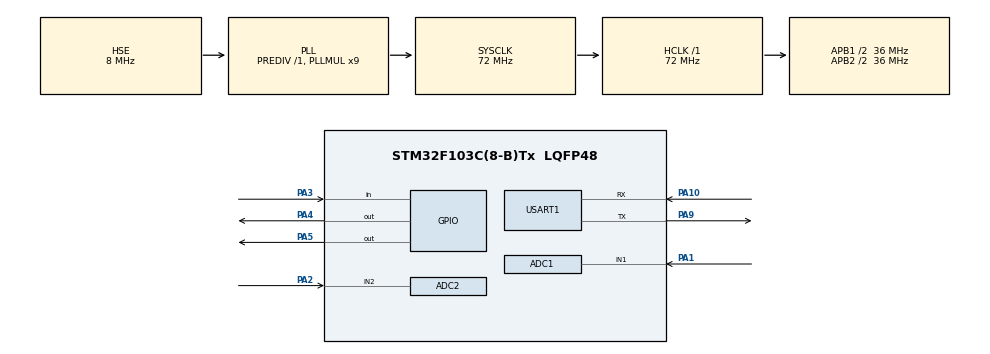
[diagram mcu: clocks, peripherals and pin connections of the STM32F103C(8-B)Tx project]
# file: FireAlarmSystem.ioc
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ADC1.Channel-1\#ChannelRegularConversion=ADC_CHANNEL_1
ADC1.EnableAnalogWatchDog=false
ADC1.NbrOfConversionFlag=1
ADC1.Rank-1\#ChannelRegularConversion=1
ADC1.SamplingTime-1\#ChannelRegularConversion=ADC_SAMPLETIME_1CYCLE_5
ADC1.master=1
ADC2.Channel-0\#ChannelRegularConversion=ADC_CHANNEL_2
ADC2.EnableAnalogWatchDog=false
ADC2.NbrOfConversionFlag=1
ADC2.Rank-0\#ChannelRegularConversion=1
ADC2.SamplingTime-0\#ChannelRegularConversion=ADC_SAMPLETIME_1CYCLE_5
FREERTOS.Queues01=temperatureQueue,3,uint16_t,0,Dynamic,NULL,NULL;airQualityQueue,3,uint16_t,0,Dynamic,NULL,NULL
FREERTOS.Tasks01=myTask01,24,128,StartTask01,Default,NULL,Dynamic,NULL,NULL;myTask02,24,128,StartTask02,Default,NULL,Dynamic,NULL,NULL;myTask03,24,128,StartTask03,Default,NULL,Dynamic,NULL,NULL
Mcu.Family=STM32F1
Mcu.Name=STM32F103C(8-B)Tx
Mcu.Package=LQFP48
NVIC.ADC1_2_IRQn=true\:5\:0\:false\:false\:true\:true\:true\:true\:true
NVIC.PriorityGroup=NVIC_PRIORITYGROUP_4
PA1.Signal=ADCx_IN1
PA10.Mode=Asynchronous
PA10.Signal=USART1_RX
PA2.Signal=ADCx_IN2
PA3.Signal=GPIO_Input
PA4.Signal=GPIO_Output
PA5.Signal=GPIO_Output
PA9.Mode=Asynchronous
PA9.Signal=USART1_TX
PD0-OSC_IN.Mode=HSE-External-Oscillator
PD0-OSC_IN.Signal=RCC_OSC_IN
PD1-OSC_OUT.Mode=HSE-External-Oscillator
PD1-OSC_OUT.Signal=RCC_OSC_OUT
ProjectManager.HeapSize=0x200
ProjectManager.StackSize=0x400
ProjectManager.TargetToolchain=STM32CubeIDE
RCC.ADCPresc=RCC_ADCPCLK2_DIV4
RCC.AHBFreq_Value=72000000
RCC.APB1CLKDivider=RCC_HCLK_DIV2
RCC.APB1Freq_Value=36000000
RCC.APB1TimFreq_Value=72000000
RCC.APB2CLKDivider=RCC_HCLK_DIV2
RCC.APB2Freq_Value=36000000
RCC.APB2TimFreq_Value=72000000
RCC.HCLKFreq_Value=72000000
RCC.PLLMUL=RCC_PLL_MUL9
RCC.PLLSourceVirtual=RCC_PLLSOURCE_HSE
RCC.SYSCLKFreq_VALUE=72000000
RCC.SYSCLKSource=RCC_SYSCLKSOURCE_PLLCLK
RCC.USBFreq_Value=72000000
SH.ADCx_IN1.0=ADC1_IN1,IN1
SH.ADCx_IN2.0=ADC2_IN2,IN2
USART1.VirtualMode=VM_ASYNC
VP_FREERTOS_VS_CMSIS_V2.Mode=CMSIS_V2
VP_SYS_VS_ND.Mode=No_Debug
board=custom

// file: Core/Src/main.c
/* USER CODE BEGIN Header */
/**
  ******************************************************************************
  * @file           : main.c
  * @brief          : Main program body
  ******************************************************************************
  * @attention
  *
  * Copyright (c) 2025 STMicroelectronics.
  * All rights reserved.
  *
  * This software is licensed under terms that can be found in the LICENSE file
  * in the root directory of this software component.
  * If no LICENSE file comes with this software, it is provided AS-IS.
  *
  ******************************************************************************
  */
/* USER CODE END Header */
#include "main.h"
#include "cmsis_os.h"

/* USER CODE BEGIN Includes */
#include <string.h>
#include <stdio.h>
/* USER CODE END Includes */

ADC_HandleTypeDef hadc1;
ADC_HandleTypeDef hadc2;

UART_HandleTypeDef huart1;

/* Definitions for myTask01 */
osThreadId_t myTask01Handle;
const osThreadAttr_t myTask01_attributes = {
  .name = "myTask01",
  .stack_size = 128 * 4,
  .priority = (osPriority_t) osPriorityNormal,
};
/* Definitions for myTask02 */
osThreadId_t myTask02Handle;
const osThreadAttr_t myTask02_attributes = {
  .name = "myTask02",
  .stack_size = 128 * 4,
  .priority = (osPriority_t) osPriorityNormal,
};
/* Definitions for myTask03 */
osThreadId_t myTask03Handle;
const osThreadAttr_t myTask03_attributes = {
  .name = "myTask03",
  .stack_size = 128 * 4,
  .priority = (osPriority_t) osPriorityNormal,
};
/* Definitions for temperatureQueue */
osMessageQueueId_t temperatureQueueHandle;
const osMessageQueueAttr_t temperatureQueue_attributes = {
  .name = "temperatureQueue"
};
/* Definitions for airQualityQueue */
osMessageQueueId_t airQualityQueueHandle;
const osMessageQueueAttr_t airQualityQueue_attributes = {
  .name = "airQualityQueue"
};
/* USER CODE BEGIN PV */
int threshold1 = 0;
int threshold2 = 0;
int isAirReady = 0;
int isTemperatureReady = 0;
int airValue;
int temperatureValue;
/* USER CODE END PV */

void SystemClock_Config(void);
static void MX_GPIO_Init(void);
static void MX_ADC1_Init(void);
static void MX_ADC2_Init(void);
static void MX_USART1_UART_Init(void);
void StartTask01(void *argument);
void StartTask02(void *argument);
void StartTask03(void *argument);

int main(void)
{

  /* MCU Configuration--------------------------------------------------------*/

  /* Reset of all peripherals, Initializes the Flash interface and the Systick. */
  HAL_Init();

  /* Configure the system clock */
  SystemClock_Config();

  /* Initialize all configured peripherals */
  MX_GPIO_Init();
  MX_ADC1_Init();
  MX_ADC2_Init();
  MX_USART1_UART_Init();

  /* Init scheduler */
  osKernelInitialize();

  /* Create the queue(s) */
  /* creation of temperatureQueue */
  temperatureQueueHandle = osMessageQueueNew (3, sizeof(uint16_t), &temperatureQueue_attributes);

  /* creation of airQualityQueue */
  airQualityQueueHandle = osMessageQueueNew (3, sizeof(uint16_t), &airQualityQueue_attributes);

  /* Create the thread(s) */
  /* creation of myTask01 */
  myTask01Handle = osThreadNew(StartTask01, NULL, &myTask01_attributes);

  /* creation of myTask02 */
  myTask02Handle = osThreadNew(StartTask02, NULL, &myTask02_attributes);

  /* creation of myTask03 */
  myTask03Handle = osThreadNew(StartTask03, NULL, &myTask03_attributes);

  /* Start scheduler */
  osKernelStart();

  /* We should never get here as control is now taken by the scheduler */

  /* Infinite loop */
  while (1)
  {

  }
}

void SystemClock_Config(void)
{
  RCC_OscInitTypeDef RCC_OscInitStruct = {0};
  RCC_ClkInitTypeDef RCC_ClkInitStruct = {0};
  RCC_PeriphCLKInitTypeDef PeriphClkInit = {0};

  /** Initializes the RCC Oscillators according to the specified parameters
  * in the RCC_OscInitTypeDef structure.
  */
  RCC_OscInitStruct.OscillatorType = RCC_OSCILLATORTYPE_HSE;
  RCC_OscInitStruct.HSEState = RCC_HSE_ON;
  RCC_OscInitStruct.HSEPredivValue = RCC_HSE_PREDIV_DIV1;
  RCC_OscInitStruct.HSIState = RCC_HSI_ON;
  RCC_OscInitStruct.PLL.PLLState = RCC_PLL_ON;
  RCC_OscInitStruct.PLL.PLLSource = RCC_PLLSOURCE_HSE;
  RCC_OscInitStruct.PLL.PLLMUL = RCC_PLL_MUL9;
  if (HAL_RCC_OscConfig(&RCC_OscInitStruct) != HAL_OK)
  {
    Error_Handler();
  }

  /** Initializes the CPU, AHB and APB buses clocks
  */
  RCC_ClkInitStruct.ClockType = RCC_CLOCKTYPE_HCLK|RCC_CLOCKTYPE_SYSCLK
                              |RCC_CLOCKTYPE_PCLK1|RCC_CLOCKTYPE_PCLK2;
  RCC_ClkInitStruct.SYSCLKSource = RCC_SYSCLKSOURCE_PLLCLK;
  RCC_ClkInitStruct.AHBCLKDivider = RCC_SYSCLK_DIV1;
  RCC_ClkInitStruct.APB1CLKDivider = RCC_HCLK_DIV2;
  RCC_ClkInitStruct.APB2CLKDivider = RCC_HCLK_DIV2;

  if (HAL_RCC_ClockConfig(&RCC_ClkInitStruct, FLASH_LATENCY_2) != HAL_OK)
  {
    Error_Handler();
  }
  PeriphClkInit.PeriphClockSelection = RCC_PERIPHCLK_ADC;
  PeriphClkInit.AdcClockSelection = RCC_ADCPCLK2_DIV4;
  if (HAL_RCCEx_PeriphCLKConfig(&PeriphClkInit) != HAL_OK)
  {
    Error_Handler();
  }
}

static void MX_ADC1_Init(void)
{

  ADC_ChannelConfTypeDef sConfig = {0};

  /** Common config
  */
  hadc1.Instance = ADC1;
  hadc1.Init.ScanConvMode = ADC_SCAN_DISABLE;
  hadc1.Init.ContinuousConvMode = DISABLE;
  hadc1.Init.DiscontinuousConvMode = DISABLE;
  hadc1.Init.ExternalTrigConv = ADC_SOFTWARE_START;
  hadc1.Init.DataAlign = ADC_DATAALIGN_RIGHT;
  hadc1.Init.NbrOfConversion = 1;
  if (HAL_ADC_Init(&hadc1) != HAL_OK)
  {
    Error_Handler();
  }

  /** Configure Regular Channel
  */
  sConfig.Channel = ADC_CHANNEL_1;
  sConfig.Rank = ADC_REGULAR_RANK_1;
  sConfig.SamplingTime = ADC_SAMPLETIME_1CYCLE_5;
  if (HAL_ADC_ConfigChannel(&hadc1, &sConfig) != HAL_OK)
  {
    Error_Handler();
  }

}

static void MX_ADC2_Init(void)
{

  ADC_ChannelConfTypeDef sConfig = {0};

  /** Common config
  */
  hadc2.Instance = ADC2;
  hadc2.Init.ScanConvMode = ADC_SCAN_DISABLE;
  hadc2.Init.ContinuousConvMode = DISABLE;
  hadc2.Init.DiscontinuousConvMode = DISABLE;
  hadc2.Init.ExternalTrigConv = ADC_SOFTWARE_START;
  hadc2.Init.DataAlign = ADC_DATAALIGN_RIGHT;
  hadc2.Init.NbrOfConversion = 1;
  if (HAL_ADC_Init(&hadc2) != HAL_OK)
  {
    Error_Handler();
  }

  /** Configure Regular Channel
  */
  sConfig.Channel = ADC_CHANNEL_2;
  sConfig.Rank = ADC_REGULAR_RANK_1;
  sConfig.SamplingTime = ADC_SAMPLETIME_1CYCLE_5;
  if (HAL_ADC_ConfigChannel(&hadc2, &sConfig) != HAL_OK)
  {
    Error_Handler();
  }

}

static void MX_USART1_UART_Init(void)
{

  huart1.Instance = USART1;
  huart1.Init.BaudRate = 115200;
  huart1.Init.WordLength = UART_WORDLENGTH_8B;
  huart1.Init.StopBits = UART_STOPBITS_1;
  huart1.Init.Parity = UART_PARITY_NONE;
  huart1.Init.Mode = UART_MODE_TX_RX;
  huart1.Init.HwFlowCtl = UART_HWCONTROL_NONE;
  huart1.Init.OverSampling = UART_OVERSAMPLING_16;
  if (HAL_UART_Init(&huart1) != HAL_OK)
  {
    Error_Handler();
  }

}

static void MX_GPIO_Init(void)
{
  GPIO_InitTypeDef GPIO_InitStruct = {0};

  /* GPIO Ports Clock Enable */
  __HAL_RCC_GPIOD_CLK_ENABLE();
  __HAL_RCC_GPIOA_CLK_ENABLE();

  /*Configure GPIO pin Output Level */
  HAL_GPIO_WritePin(GPIOA, GPIO_PIN_4|GPIO_PIN_5, GPIO_PIN_RESET);

  /*Configure GPIO pin : PA3 */
  GPIO_InitStruct.Pin = GPIO_PIN_3;
  GPIO_InitStruct.Mode = GPIO_MODE_INPUT;
  GPIO_InitStruct.Pull = GPIO_NOPULL;
  HAL_GPIO_Init(GPIOA, &GPIO_InitStruct);

  /*Configure GPIO pins : PA4 PA5 */
  GPIO_InitStruct.Pin = GPIO_PIN_4|GPIO_PIN_5;
  GPIO_InitStruct.Mode = GPIO_MODE_OUTPUT_PP;
  GPIO_InitStruct.Pull = GPIO_NOPULL;
  GPIO_InitStruct.Speed = GPIO_SPEED_FREQ_LOW;
  HAL_GPIO_Init(GPIOA, &GPIO_InitStruct);

}

void StartTask01(void *argument)
{
  /* USER CODE BEGIN 5 */
  /* Infinite loop */
	HAL_ADC_Start_IT(&hadc1);
	HAL_ADC_Start_IT(&hadc2);
	for (;;) {
		//HAL_UART_Transmit(&huart1, (uint8_t*) "Task 3\n", strlen("Task 3\n"), 100);
		if (isAirReady == 1) {
			isAirReady = 0;
			if (osMessageQueueGetCount(airQualityQueueHandle) < 2) {
				osStatus_t status = osMessageQueuePut(airQualityQueueHandle,
						&airValue, 0, 10);
				if (status != osOK) {
					// In ra lỗi nếu việc đưa vào queue thất bại
					char error_msg[50];
					sprintf(error_msg, "Queue 1 Put Error: %d\n", status);
					HAL_UART_Transmit(&huart1, (uint8_t*) error_msg,
							strlen(error_msg), 100);
				}
			}
			HAL_ADC_Start_IT(&hadc1);
		}

		if (isTemperatureReady == 1) {
			isTemperatureReady = 0;
			if (osMessageQueueGetCount(temperatureQueueHandle) < 2) {
				osStatus_t status = osMessageQueuePut(temperatureQueueHandle,
						&temperatureValue, 0, 10);
				if (status != osOK) {
					// In ra lỗi nếu việc đưa vào queue thất bại
					char error_msg[50];
					sprintf(error_msg, "Queue 2 Put Error: %d\n", status);
					HAL_UART_Transmit(&huart1, (uint8_t*) error_msg,
							strlen(error_msg), 100);
				}
			}
			HAL_ADC_Start_IT(&hadc2);
		}
		osDelay(250);
	}
  /* USER CODE END 5 */
}

void StartTask02(void *argument)
{
  /* USER CODE BEGIN StartTask02 */
  /* Infinite loop */
  for(;;)
  {
	  // ACTIVE LOW: IN = 0 ==> The circuit is closed
	  if (threshold1 == 1) HAL_GPIO_WritePin(GPIOA, GPIO_PIN_4, GPIO_PIN_RESET);
	  else HAL_GPIO_WritePin(GPIOA, GPIO_PIN_4, GPIO_PIN_SET);

	  if (threshold2 == 1) HAL_GPIO_WritePin(GPIOA, GPIO_PIN_5, GPIO_PIN_RESET);
	  else HAL_GPIO_WritePin(GPIOA, GPIO_PIN_5, GPIO_PIN_SET);

      osDelay(250);
  }
  /* USER CODE END StartTask02 */
}

void StartTask03(void *argument)
{
  /* USER CODE BEGIN StartTask03 */
  /* Infinite loop */
	for (;;) {
		if (osMessageQueueGetCount(airQualityQueueHandle) > 0 && osMessageQueueGetCount(temperatureQueueHandle) > 0) {
			char buffer[100];
			uint16_t air, tem, airConvert, temConvert;
			osMessageQueueGet(airQualityQueueHandle, &air, NULL, 100);
			osMessageQueueGet(temperatureQueueHandle, &tem, NULL, 100);

			airConvert = air * 3300 / 4096; // Convert to millivoltage
			temConvert = tem * 330 / 4096; // Convert to temperature: 10mV ~ 1 Cencius degree

			if (airConvert > 600) threshold1 = 1;
			else threshold1 = 0;

			if (temConvert > 70) threshold2 = 1;
			else threshold2 = 0;

			sprintf(buffer,
					"Air quality sensor: %d (mV).\nTemperature: %d (*C).\nTh1 = %d, Th2 = %d\n==========\n",
					airConvert, temConvert, threshold1, threshold2);
			HAL_UART_Transmit(&huart1, (uint8_t*) buffer, strlen(buffer), 100);
		}
		osDelay(1000);
	}
  /* USER CODE END StartTask03 */
}

void Error_Handler(void)
{
  __disable_irq();
  while (1)
  {
  }
}
